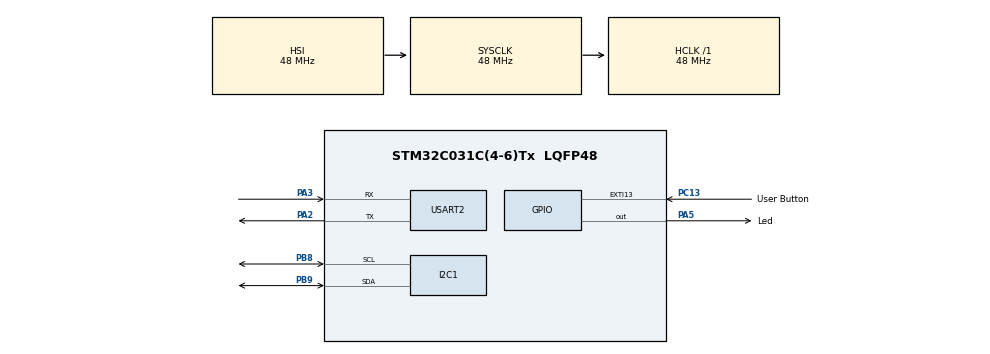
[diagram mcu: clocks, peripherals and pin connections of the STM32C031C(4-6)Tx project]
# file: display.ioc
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I2C1.Timing=0x20303E5D
Mcu.Family=STM32C0
Mcu.Name=STM32C031C(4-6)Tx
Mcu.Package=LQFP48
NVIC.EXTI4_15_IRQn=true\:0\:0\:false\:false\:true\:true\:true\:true
PA13.Mode=Serial_Wire
PA13.Signal=DEBUG_SWDIO
PA14-BOOT0.Mode=Serial_Wire
PA14-BOOT0.Signal=DEBUG_SWCLK
PA2.Mode=Asynchronous
PA2.Signal=USART2_TX
PA3.Mode=Asynchronous
PA3.Signal=USART2_RX
PA5.GPIO_Label=Led
PA5.GPIO_Speed=GPIO_SPEED_FREQ_VERY_HIGH
PA5.PinState=GPIO_PIN_SET
PA5.Signal=GPIO_Output
PB8.Mode=I2C
PB8.Signal=I2C1_SCL
PB9.Mode=I2C
PB9.Signal=I2C1_SDA
PC13.GPIO_Label=User Button
PC13.Signal=GPXTI13
PC14-OSCX_IN\ (PC14).Mode=LSE-External-Oscillator
PC14-OSCX_IN\ (PC14).Signal=RCC_OSCX_IN
PC15-OSCX_OUT\ (PC15).Mode=LSE-External-Oscillator
PC15-OSCX_OUT\ (PC15).Signal=RCC_OSCX_OUT
PF0-OSC_IN\ (PF0).Mode=HSE-External-Oscillator
PF0-OSC_IN\ (PF0).Signal=RCC_OSC_IN
PF1-OSC_OUT\ (PF1).Mode=HSE-External-Oscillator
PF1-OSC_OUT\ (PF1).Signal=RCC_OSC_OUT
ProjectManager.HeapSize=0x200
ProjectManager.StackSize=0x400
ProjectManager.TargetToolchain=Makefile
RCC.ADCFreq_Value=48000000
RCC.AHBFreq_Value=48000000
RCC.CortexFreq_Value=48000000
RCC.EXTERNAL_CLOCK_VALUE=12288000
RCC.HCLKFreq_Value=48000000
RCC.HSE_VALUE=48000000
RCC.HSISYSCLKDivider=RCC_HSI_DIV1
RCC.HSI_VALUE=48000000
RCC.SYSCLKFreq_VALUE=48000000
USART2.VirtualMode-Asynchronous=VM_ASYNC
board=NUCLEO-C031C6

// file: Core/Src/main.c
/* USER CODE BEGIN Header */
/**
  ******************************************************************************
  * @file           : main.c
  * @brief          : Main program body
  ******************************************************************************
  * @attention
  *
  * Copyright (c) 2023 STMicroelectronics.
  * All rights reserved.
  *
  * This software is licensed under terms that can be found in the LICENSE file
  * in the root directory of this software component.
  * If no LICENSE file comes with this software, it is provided AS-IS.
  *
  ******************************************************************************
  */
/* USER CODE END Header */
#include "main.h"

/* USER CODE BEGIN Includes */

#include <string.h>
#include <stdio.h>

/* USER CODE END Includes */

I2C_HandleTypeDef hi2c1;

UART_HandleTypeDef huart2;

/* USER CODE BEGIN PV */
#define SSD1306_ADDR (0x3C << 1) // Indirizzo I2C 0x3C shiftato
/* USER CODE END PV */

void SystemClock_Config(void);
static void MX_GPIO_Init(void);
static void MX_I2C1_Init(void);
static void MX_USART2_UART_Init(void);

int main(void)
{
  /* USER CODE BEGIN 1 */
  void SSD1306_Init_And_Fill(void) {
    // 1. Sequenza di inizializzazione corretta per 128x64
    uint8_t init_cmds[] = {
        0x00,       // Byte di controllo: seguela di comandi
        0xAE,       // Display OFF
        0x20, 0x00, // IMPORTANTE: Memory Addressing Mode -> 0x00 = Horizontal Mode
        0x21, 0, 127,// Column Address: da 0 a 127
        0x22, 0, 7,  // Page Address: da 0 a 7 (64 pixel / 8 = 8 pagine)
        0xA8, 0x3F, // Multiplex Ratio (1/64)
        0xD3, 0x00, // Display Offset = 0
        0x40,       // Display Start Line = 0
        0x8D, 0x14, // Enable Charge Pump
        0xA1,       // Segment Remap (orientamento H)
        0xC8,       // COM Output Scan Direction (orientamento V)
        0xDA, 0x12, // COM Pins Hardware Configuration
        0x81, 0xCF, // Contrasto
        0xD9, 0xF1, // Pre-charge Period
        0xDB, 0x40, // VCOMH Deselect Level
        0xA4,       // Entire Display ON (rispetta il contenuto della RAM)
        0xA6,       // Modalità normale (non invertita)
        0xAF        // Display ON
    };

    HAL_I2C_Master_Transmit(&hi2c1, SSD1306_ADDR, init_cmds, sizeof(init_cmds), HAL_MAX_DELAY);

    // 2. Prepariamo un buffer per accendere tutti i 1024 byte di RAM (128x64 pixel)
    uint8_t display_buffer[1025];
    display_buffer[0] = 0x40; // Byte di controllo: dati per la RAM grafici

    for (int i = 1; i <= 1024; i++) {
        display_buffer[i] = 0xFF; // Tutti i pixel ACCESI
    }

    // 3. Inviamo l'intero buffer via I2C
    HAL_I2C_Master_Transmit(&hi2c1, SSD1306_ADDR, display_buffer, sizeof(display_buffer), HAL_MAX_DELAY);
  }
  /* USER CODE END 1 */

  /* MCU Configuration--------------------------------------------------------*/

  /* Reset of all peripherals, Initializes the Flash interface and the Systick. */
  HAL_Init();

  /* Configure the system clock */
  SystemClock_Config();

  /* Initialize all configured peripherals */
  MX_GPIO_Init();
  MX_I2C1_Init();
  MX_USART2_UART_Init();
  /* USER CODE BEGIN 2 */

  char msg[] = "Hello, Wokwi!\r\n";
  HAL_UART_Transmit(&huart2, (uint8_t*)msg, strlen(msg), HAL_MAX_DELAY);

  SSD1306_Init_And_Fill();

  /* USER CODE END 2 */

  /* Infinite loop */
  /* USER CODE BEGIN WHILE */

  char msg_addr[64];
  HAL_UART_Transmit(&huart2, (uint8_t*)"Scansione I2C...\r\n", 18, HAL_MAX_DELAY);

  for (uint8_t addr = 1; addr < 128; addr++)
  {
    if (HAL_I2C_IsDeviceReady(&hi2c1, (uint16_t)(addr << 1), 2, 10) == HAL_OK)
    {
      sprintf(msg_addr, "Dispositivo trovato: 0x%02X\r\n", addr);
      HAL_UART_Transmit(&huart2, (uint8_t*)msg_addr, strlen(msg_addr), HAL_MAX_DELAY);
    }
  }

  HAL_UART_Transmit(&huart2, (uint8_t*)"Scansione completata.\r\n", 23, HAL_MAX_DELAY);

  while (1)
  {
    /* USER CODE END WHILE */

  }
}

void SystemClock_Config(void)
{
  RCC_OscInitTypeDef RCC_OscInitStruct = {0};
  RCC_ClkInitTypeDef RCC_ClkInitStruct = {0};

  /** Initializes the RCC Oscillators according to the specified parameters
  * in the RCC_OscInitTypeDef structure.
  */
  RCC_OscInitStruct.OscillatorType = RCC_OSCILLATORTYPE_HSI;
  RCC_OscInitStruct.HSIState = RCC_HSI_ON;
  RCC_OscInitStruct.HSIDiv = RCC_HSI_DIV1;
  RCC_OscInitStruct.HSICalibrationValue = RCC_HSICALIBRATION_DEFAULT;
  if (HAL_RCC_OscConfig(&RCC_OscInitStruct) != HAL_OK)
  {
    Error_Handler();
  }

  /** Initializes the CPU, AHB and APB buses clocks
  */
  RCC_ClkInitStruct.ClockType = RCC_CLOCKTYPE_HCLK|RCC_CLOCKTYPE_SYSCLK
                              |RCC_CLOCKTYPE_PCLK1;
  RCC_ClkInitStruct.SYSCLKSource = RCC_SYSCLKSOURCE_HSI;
  RCC_ClkInitStruct.SYSCLKDivider = RCC_SYSCLK_DIV1;
  RCC_ClkInitStruct.AHBCLKDivider = RCC_HCLK_DIV1;
  RCC_ClkInitStruct.APB1CLKDivider = RCC_APB1_DIV1;

  if (HAL_RCC_ClockConfig(&RCC_ClkInitStruct, FLASH_LATENCY_1) != HAL_OK)
  {
    Error_Handler();
  }
}

static void MX_I2C1_Init(void)
{

  hi2c1.Instance = I2C1;
  hi2c1.Init.Timing = 0x20303E5D;
  hi2c1.Init.OwnAddress1 = 0;
  hi2c1.Init.AddressingMode = I2C_ADDRESSINGMODE_7BIT;
  hi2c1.Init.DualAddressMode = I2C_DUALADDRESS_DISABLE;
  hi2c1.Init.OwnAddress2 = 0;
  hi2c1.Init.OwnAddress2Masks = I2C_OA2_NOMASK;
  hi2c1.Init.GeneralCallMode = I2C_GENERALCALL_DISABLE;
  hi2c1.Init.NoStretchMode = I2C_NOSTRETCH_DISABLE;
  if (HAL_I2C_Init(&hi2c1) != HAL_OK)
  {
    Error_Handler();
  }

  /** Configure Analogue filter
  */
  if (HAL_I2CEx_ConfigAnalogFilter(&hi2c1, I2C_ANALOGFILTER_ENABLE) != HAL_OK)
  {
    Error_Handler();
  }

  /** Configure Digital filter
  */
  if (HAL_I2CEx_ConfigDigitalFilter(&hi2c1, 0) != HAL_OK)
  {
    Error_Handler();
  }

}

static void MX_USART2_UART_Init(void)
{

  huart2.Instance = USART2;
  huart2.Init.BaudRate = 115200;
  huart2.Init.WordLength = UART_WORDLENGTH_8B;
  huart2.Init.StopBits = UART_STOPBITS_1;
  huart2.Init.Parity = UART_PARITY_NONE;
  huart2.Init.Mode = UART_MODE_TX_RX;
  huart2.Init.HwFlowCtl = UART_HWCONTROL_NONE;
  huart2.Init.OverSampling = UART_OVERSAMPLING_16;
  huart2.Init.OneBitSampling = UART_ONE_BIT_SAMPLE_DISABLE;
  huart2.Init.ClockPrescaler = UART_PRESCALER_DIV1;
  huart2.AdvancedInit.AdvFeatureInit = UART_ADVFEATURE_NO_INIT;
  if (HAL_UART_Init(&huart2) != HAL_OK)
  {
    Error_Handler();
  }

}

static void MX_GPIO_Init(void)
{
  GPIO_InitTypeDef GPIO_InitStruct = {0};

  /* GPIO Ports Clock Enable */
  __HAL_RCC_GPIOC_CLK_ENABLE();
  __HAL_RCC_GPIOF_CLK_ENABLE();
  __HAL_RCC_GPIOA_CLK_ENABLE();
  __HAL_RCC_GPIOB_CLK_ENABLE();

  /*Configure GPIO pin Output Level */
  HAL_GPIO_WritePin(Led_GPIO_Port, Led_Pin, GPIO_PIN_SET);

  /*Configure GPIO pin : User_Button_Pin */
  GPIO_InitStruct.Pin = User_Button_Pin;
  GPIO_InitStruct.Mode = GPIO_MODE_IT_RISING;
  GPIO_InitStruct.Pull = GPIO_NOPULL;
  HAL_GPIO_Init(User_Button_GPIO_Port, &GPIO_InitStruct);

  /*Configure GPIO pin : Led_Pin */
  GPIO_InitStruct.Pin = Led_Pin;
  GPIO_InitStruct.Mode = GPIO_MODE_OUTPUT_PP;
  GPIO_InitStruct.Pull = GPIO_NOPULL;
  GPIO_InitStruct.Speed = GPIO_SPEED_FREQ_VERY_HIGH;
  HAL_GPIO_Init(Led_GPIO_Port, &GPIO_InitStruct);

  /* EXTI interrupt init*/
  HAL_NVIC_SetPriority(EXTI4_15_IRQn, 0, 0);
  HAL_NVIC_EnableIRQ(EXTI4_15_IRQn);

}

void Error_Handler(void)
{
  __disable_irq();
  while (1)
  {
  }
}
